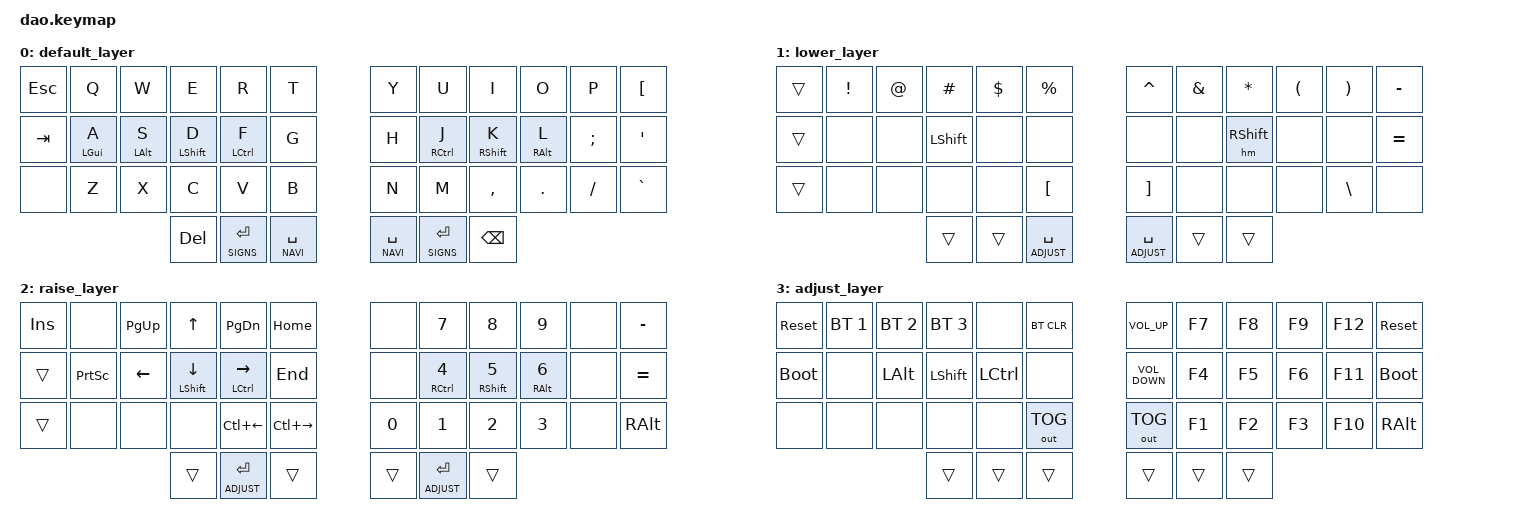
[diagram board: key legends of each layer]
/*
 * Copyright (c) 2021 Rafael Yumagulov
 *
 * SPDX-License-Identifier: MIT
 */

#include <behaviors.dtsi>
#include <dt-bindings/zmk/bt.h>
#include <dt-bindings/zmk/keys.h>
#include <dt-bindings/zmk/outputs.h>

#define LANG 0
#define SIGNS 1
#define NAVI 2
#define ADJUST 3


// Personal includes
#include "includes/settings.dtsi"
#include "includes/behaviours_homerow_mods.dtsi"

&mt {
    quick_tap_ms = <100>;
};

/ {
    behaviors {

        td0: tap_dance_0 {
            compatible = "zmk,behavior-tap-dance";
            label = "layer_switch_with_escape";
            #binding-cells = <0>;
            tapping-term-ms = <200>;
            bindings = <&ch_lt>, <&kp ESC>;
        };

        td1: tap_dance_1 {
            compatible = "zmk,behavior-tap-dance";
            label = "lang_switch_with_escape";
            #binding-cells = <0>;
            tapping-term-ms = <100>;
            bindings = <&ch_lg>, <&kp ESC>;
        };
    };


    macros {
        ch_lt: ch_lt {
            label = "ch_lt";
            compatible = "zmk,behavior-macro";
            #binding-cells = <0>;
            wait-ms = <40>;
            tap-ms = <40>;
            bindings =
                <&macro_press>,
                <&tog 1 &kp LSHIFT>,
                <&macro_tap>,
                <&kp LALT>,
                <&macro_pause_for_release>,
                <&macro_release>,
                <&tog 1 &kp LSHIFT>;
        };

        ch_lg: ch_lg {
            label = "ch_lg";
            compatible = "zmk,behavior-macro";
            #binding-cells = <0>;
            wait-ms = <20>;
            tap-ms = <20>;
            bindings =
                <&macro_press>,
                <&kp LSHIFT>,
                <&macro_tap>,
                <&kp LALT>,
                <&macro_release>,
                <&kp LSHIFT>;
        };
    };
};

/ {
    keymap {
        compatible = "zmk,keymap";

        default_layer {
            // .--------------------------------------------------------------.       .-----------------------------------------------------------.
            // |   ESC        |  Q      |  W     |  E     |  R      |  T      |       |  Y     |  U      |  I      |  O      |   P      |    [     |
            // |--------------+---------+--------+--------+---------+---------|       |--------+---------+---------+---------+----------+----------|
            // |   Tab        |  A      |  S     |  D     |  F      |  G      |       |  H     |  J      |  K      |  L      |    ;     |   '      |
            // |--------------+---------+--------+--------+---------+---------|       |--------+---------+---------+---------+----------+----------|
            // |              |  Z      |  X     |  C     |  V      |  B      |       |  N     |  M      |    ,    |    .    |    /     |   `      |
            // '---------------------------------+--------+---------+---------+       |--------+---------+---------+---------+----------+----------'
            //                                   | DEL    |ENT/SIGNS|SPC/NAVI |       |SPC/NAVI|ENT/SIGNS|  BSPC   |
            //                                   '--------+---------+---------'       '--------+---------+---------'

            bindings = <
&kp ESC &kp Q  &kp W  &kp E         &kp R               &kp T               &kp Y           &kp U          &kp I       &kp O      &kp P     &kp LBKT
&kp TAB &hm LGUI A  &hm LALT S  &lhm LSHFT D &hm LCTRL F &kp G               &kp H           &hm RCTRL J    &hm RSHFT K &hm RALT L &kp SEMI  &kp  SQT
&none   &kp Z  &kp X  &kp C         &kp V               &kp B               &kp N           &kp M          &kp COMMA   &kp DOT    &kp FSLH  &kp  GRAVE
                      &kp DEL       &lt SIGNS RET       &lt NAVI SPACE      &lt NAVI SPACE  &lt SIGNS RET  &kp BSPC
            >;
        };

        lower_layer {
            // .--------------------------------------------------------------.       .-----------------------------------------------------------.
            // |   ESC        |    !   |    @    |   #    |    $    |    %    |       |   ^    |    &    |    *    |    (    |    )     |    -     |
            // |--------------+---------+--------+--------+---------+---------|       |--------+---------+---------+---------+----------+----------|
            // |   Tab        |        |         |        |         |         |       |        |         |         |         |          | =        |
            // |--------------+---------+--------+--------+---------+---------|       |--------+---------+---------+---------+----------+----------|
            // |              |        |         |        |         |    [    |       |   ]    |         |         |         |    \     |          |
            // '---------------------------------+--------+---------+---------+       |--------+---------+---------+-------------------------------'
            //                                   | DEL    |ENT/SIGNS|SPC/NAVI |       |SPC/NAVI|ENT/SIGNS|  BSPC   |
            //                                   '--------+---------+---------'       '--------+---------+---------'

            bindings = <
&trans  &kp EXCL  &kp AT  &kp HASH  &kp DLLR  &kp PRCNT         &kp CARET         &kp AMPS  &kp STAR  &kp LPAR  &kp RPAR  &kp MINUS
&trans  &none     &none   &kp LSHFT &none     &none             &none             &none     &hm RSHFT &none     &none     &kp EQUAL
&trans  &none     &none   &none     &none     &kp LBKT          &kp RBKT          &none     &none     &none     &kp BSLH  &none
                          &trans    &trans    &lt ADJUST SPACE  &lt ADJUST SPACE  &trans    &trans
            >;
        };

        raise_layer {
            // .---------------------------------------------------------------.       .------------------------------------------------------------------.
            // |     INS      |        |   PgUP  |    UP  |   PgDn  |   HOME   |       |         |    7     |    8    |    9     |          |    -        |
            // |--------------+--------+---------+--------+---------+----------|       |---------+----------+---------+----------+----------+-------------|
            // |     Tab/SHFT |  PSCRN |   LEFT  |   DOWN |   RIGHT |   END    |       |         |    4     |    5    |    6     |          |    =        |
            // |--------------+--------+---------+--------+---------+----------|       |---------+----------+---------+----------+----------+-------------|
            // |              |        |         |        |CTRL+LEFT|CTRL+RIGHT|       |    0    |    1     |    2    |    3     |          |   ALT       |
            // '---------------------------------+--------+---------+----------+       |---------+----------+---------+-----------------------------------'
            //                                   |        |  ADJUST |          |       |  SPC    |  ENT     |  BSPC   |
            //                                   '--------+---------+----------'       '---------+----------+---------'

            bindings = <
&kp INS  &none      &kp PAGE_UP     &kp UP_ARROW          &kp PAGE_DOWN             &kp HOME             &none   &kp N7          &kp N8  &kp N9  &none  &kp MINUS
&trans   &kp PSCRN  &kp LEFT_ARROW  &hm LSHFT DOWN_ARROW  &hm LCTRL RIGHT_ARROW     &kp END              &none   &hm RCTRL N4          &hm RSHFT N5  &hm RALT N6  &none  &kp EQUAL
&trans   &none      &none           &none                 &kp LC(LEFT_ARROW)        &kp LC(RIGHT_ARROW)  &kp N0  &kp N1          &kp N2  &kp N3  &none  &kp RALT
                                    &trans                &lt ADJUST RET            &trans               &trans  &lt ADJUST RET  &trans
            >;
        };

        adjust_layer {
            // .--------------------------------------------------------.       .--------------------------------------------------------------.
            // |  RESET  |  BT0   |  BT1   |   BT2  |         |  BTCL   |       |   VOL+ |   F7   |   F8    |   F9    |   F12    |  RESET      |
            // |---------+--------+--------+--------+---------+---------|       |--------+--------+---------+---------+----------+-------------|
            // |  BOOT   |        |        |        |         |         |       |   VOL- |   F4   |   F5    |   F6    |   F11    |  BOOT       |
            // |---------+--------+--------+--------+---------+---------|       |--------+--------+---------+---------+----------+-------------|
            // |         |        |        |        |         | OUT_TOG |       | OUT_TOG|   F1   |   F2    |   F3    |   F10    |  ALT        |
            // '---------------------------+--------+---------+---------+       |--------+--------+---------+----------------------------------'
            //                             |        |         |         |       |        |        |         |
            //                             '--------+---------+---------'       '--------+--------+---------'

            bindings = <
&sys_reset   &bt BT_SEL 1  &bt BT_SEL 2  &bt BT_SEL 3  &none   &bt BT_CLR   &kp C_VOLUME_UP    &kp F7  &kp F8  &kp F9  &kp F12  &sys_reset
&bootloader  &none         &kp LALT         &kp LSHFT         &kp LCTRL   &none        &kp C_VOLUME_DOWN  &kp F4  &kp F5  &kp F6  &kp F11  &bootloader
&none        &none         &none         &none         &none   &out OUT_TOG &out OUT_TOG       &kp F1  &kp F2  &kp F3  &kp F10  &kp RALT
                                         &trans        &trans  &trans       &trans             &trans  &trans
            >;
        };
    };
};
